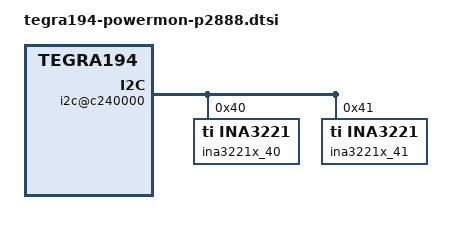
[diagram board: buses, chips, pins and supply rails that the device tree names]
/*
 * Copyright (c) 2017-2020, NVIDIA CORPORATION.  All rights reserved.
 *
 * This program is free software; you can redistribute it and/or modify it
 * under the terms and conditions of the GNU General Public License,
 * version 2, as published by the Free Software Foundation.
 *
 * This program is distributed in the hope it will be useful, but WITHOUT
 * ANY WARRANTY; without even the implied warranty of MERCHANTABILITY or
 * FITNESS FOR A PARTICULAR PURPOSE.  See the GNU General Public License for
 * more details.
 *
 * You should have received a copy of the GNU General Public License
 * along with this program.  If not, see <http://www.gnu.org/licenses/>.
 */

/ {
	p2888_shuntv_offset: shuntv-offset {
		offset = <0>;
		range@0 {
			start = <0xFFFFFFD8>;
			end = <0xFFFFFFD8>;
			offset = <40>;
		};
	};

	i2c@c240000 {
		ina3221x_40: ina3221@40 {
			compatible = "ti,ina3221";
			reg = <0x40>;
			#address-cells = <1>;
			#size-cells = <0>;
			#io-channel-cells = <1>;
			channel@0 {
				reg = <0x0>;
				label = "GPU";
				shunt-resistor-micro-ohms = <5000>;
				shunt-volt-offset-uv = <&p2888_shuntv_offset>;
			};
			channel@1 {
				reg = <0x1>;
				label = "CPU";
				shunt-resistor-micro-ohms = <5000>;
				shunt-volt-offset-uv = <&p2888_shuntv_offset>;
			};
			channel@2 {
				reg = <0x2>;
				label = "SOC";
				shunt-resistor-micro-ohms = <5000>;
				shunt-volt-offset-uv = <&p2888_shuntv_offset>;
			};
		};
		ina3221x_41: ina3221@41 {
			compatible = "ti,ina3221";
			reg = <0x41>;
			#address-cells = <1>;
			#size-cells = <0>;
			#io-channel-cells = <1>;
			channel@0 {
				reg = <0x0>;
				label = "CV";
				shunt-resistor-micro-ohms = <5000>;
				shunt-volt-offset-uv = <&p2888_shuntv_offset>;
			};
			channel@1 {
				reg = <0x1>;
				label = "VDDRQ";
				shunt-resistor-micro-ohms = <5000>;
				shunt-volt-offset-uv = <&p2888_shuntv_offset>;
			};
			channel@2 {
				reg = <0x2>;
				label = "SYS5V";
				shunt-resistor-micro-ohms = <5000>;
				shunt-volt-offset-uv = <&p2888_shuntv_offset>;
			};
		};
	};
};
